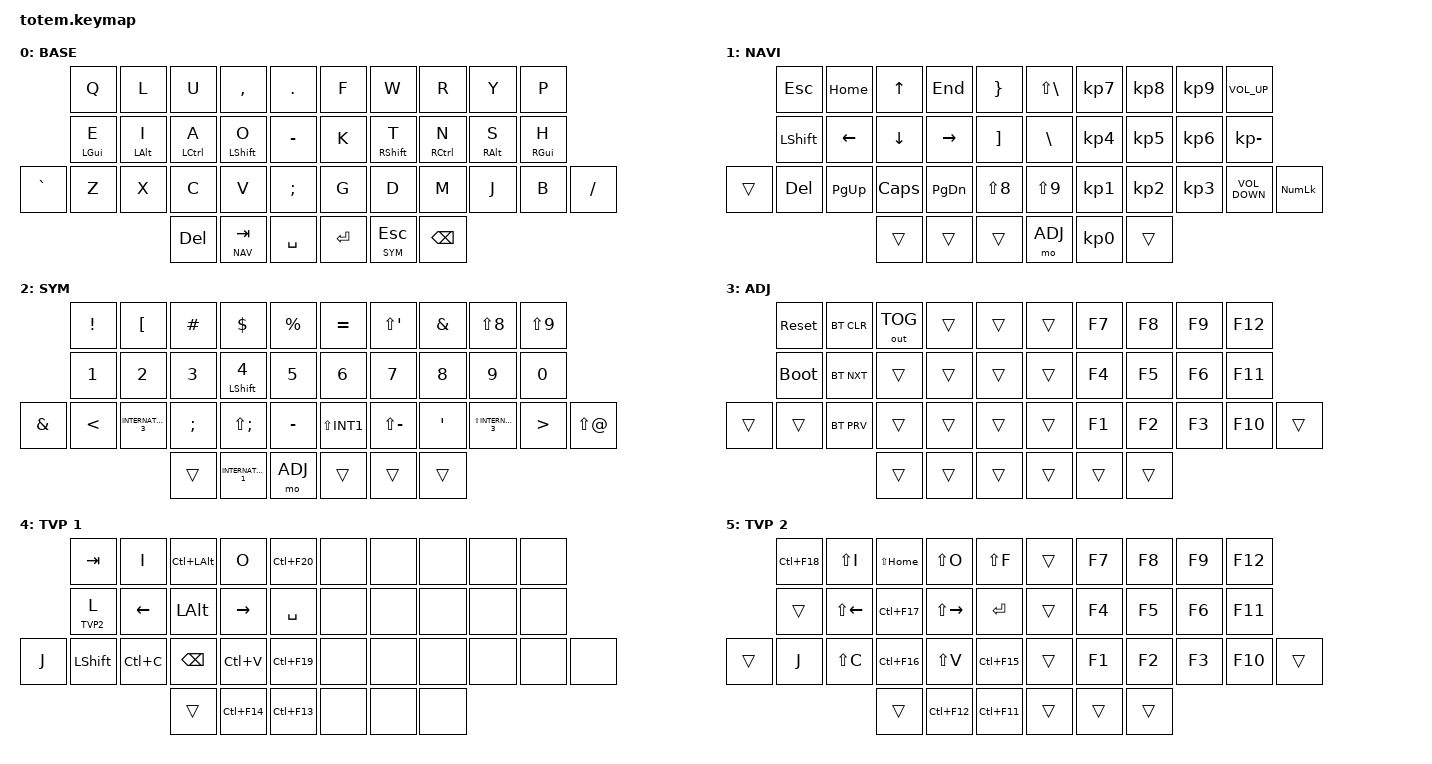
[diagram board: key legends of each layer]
//
//                                                        ▀▀▀▀▀     ▀▀▀▀▀          ▀▀█▀▀
//                                                        ▄▀▀▀▄  ▄  ▄▀▀▀▄  ▄  ▄▀▀▀▄  █  ▄▀▀▀▄
//                                                        █   █  █  █   █  █  █   █  █  █   █
//                                                         ▀▀▀   █   ▀▀▀   █   ▀▀▀   ▀   ▀▀▀
//                                                               █      ▄▄▄█▄▄▄    █   █  
//                                                               ▀      █  █  █     █▄█
//                                                             ▀▀▀▀▀    █  █  █      ▀
//                                                                      ▀  ▀  ▀
//
// ▄▄▄▄▄▄▄▄▄▄▄▄▄▄▄▄▄▄▄▄▄▄▄▄▄▄▄▄▄▄▄▄▄▄▄▄▄▄▄▄▄▄▄▄▄▄▄▄▄▄▄▄▄▄▄▄▄▄▄▄▄▄▄▄▄▄▄▄▄▄▄▄▄▄▄▄▄▄▄▄▄▄▄▄▄▄▄▄▄▄▄▄▄▄▄▄▄▄▄▄▄▄▄▄▄▄▄▄▄▄▄▄▄▄▄▄▄▄▄▄▄▄▄▄▄▄▄▄▄▄▄▄▄▄▄▄▄▄▄▄▄▄▄▄▄▄▄▄▄

#include <behaviors.dtsi>
#include <dt-bindings/zmk/bt.h>
#include <dt-bindings/zmk/keys.h>
#include <dt-bindings/zmk/outputs.h>

#define BASE 0
#define NAV  1
#define SYM  2
#define ADJ  3
#define TVP1 4
#define TVP2 5

&mt {
    quick-tap-ms = <140>;
    global-quick-tap;
    flavor = "tap-preferred";
    tapping-term-ms = <1000>;
};

/ {
    combos {
        compatible = "zmk,combos";

        combo_esc {
            timeout-ms = <50>;
            key-positions = <0 1>;
            bindings = <&kp ESC>;
        };

        combo_tvp {
            timeout-ms = <100>;
            key-positions = <11 12 13>;
            bindings = <&tog TVP1>;
        };
    };

    macros {
        gif: gif {
            label = "giphy";
            compatible = "zmk,behavior-macro";
            #binding-cells = <0>;
            bindings =
                <&macro_press>,
                <&kp LSHFT>,
                <&macro_tap>,
                <&kp N2>,
                <&macro_release>,
                <&kp LSHFT>,
                <&macro_tap>,
                <&kp G &kp I &kp F>;
        };
    };

    keymap {
        compatible = "zmk,keymap";

        // ▄▄▄▄▄▄▄▄▄▄▄▄▄▄▄▄▄▄▄▄▄▄▄▄▄▄▄▄▄▄▄▄▄▄▄▄▄▄▄▄▄▄▄▄▄▄▄▄▄▄▄▄▄▄▄▄▄▄▄▄▄▄▄▄▄▄▄▄▄▄▄▄▄▄▄▄▄▄▄▄▄▄▄▄▄▄▄▄▄▄▄▄▄▄▄▄▄▄▄▄▄▄▄▄▄▄▄▄▄▄▄▄▄▄▄▄▄▄▄▄▄▄▄▄▄▄▄▄▄▄▄▄▄▄▄▄▄▄▄▄▄▄▄▄▄▄▄▄▄

        base_layer {
            // ┏━━━━━━━━━━━━━━━━━━━━━━━━━━━━━━━━━━━━━━━┓

            label = "BASE";

            // ┗━━━━━━━━━━━━━━━━━━━━━━━━━━━━━━━━━━━━━━━┛
            //             ┏━━━━━━━━━━━┳━━━━━━━━━━━┳━━━━━━━━━━━┳━━━━━━━━━━━┳━━━━━━━━━━━┓   ┏━━━━━━━━━━━┳━━━━━━━━━━━┳━━━━━━━━━━━┳━━━━━━━━━━━┳━━━━━━━━━━━┓
            //             ┃     Q     ┃     W     ┃     F     ┃     P     ┃     G     ┃   ┃     J     ┃     L     ┃     U     ┃     Y     ┃     ;     ┃
            //             ┣━━━━━━━━━━━╋━━━━━━━━━━━╋━━━━━━━━━━━╋━━━━━━━━━━━╋━━━━━━━━━━━┫   ┣━━━━━━━━━━━╋━━━━━━━━━━━╋━━━━━━━━━━━╋━━━━━━━━━━━╋━━━━━━━━━━━┫
            //             ┃     A     ┃     R     ┃     S     ┃     T     ┃     D     ┃   ┃     H     ┃     N     ┃     E     ┃     I     ┃     O     ┃
            // ┏━━━━━━━━━━━╋━━━━━━━━━━━╋━━━━━━━━━━━╋━━━━━━━━━━━╋━━━━━━━━━━━╋━━━━━━━━━━━┫   ┣━━━━━━━━━━━╋━━━━━━━━━━━╋━━━━━━━━━━━╋━━━━━━━━━━━╋━━━━━━━━━━━╋━━━━━━━━━━━┓
            // ┃     Q     ┃     Z     ┃     X     ┃     C     ┃     V     ┃     B     ┃   ┃     K     ┃     M     ┃     ,     ┃     .     ┃     /     ┃     \     ┃
            // ┗━━━━━━━━━━━┻━━━━━━━━━━━┻━━━━━━━━━━━╋━━━━━━━━━━━╋━━━━━━━━━━━╋━━━━━━━━━━━┫   ┣━━━━━━━━━━━╋━━━━━━━━━━━╋━━━━━━━━━━━╋━━━━━━━━━━━┻━━━━━━━━━━━┻━━━━━━━━━━━┛
            //                                     ┃    DEL    ┃    TAB    ┃    SPC    ┃   ┃   ENTER   ┃           ┃   BSPC    ┃
            //                                     ┗━━━━━━━━━━━┻━━━━━━━━━━━┻━━━━━━━━━━━┛   ┗━━━━━━━━━━━┻━━━━━━━━━━━┻━━━━━━━━━━━┛

            bindings = <
           &kp Q       &kp L       &kp U        &kp COMMA    &kp PERIOD       &kp F    &kp W        &kp R        &kp Y       &kp P
           &mt LGUI E  &mt LALT I  &mt LCTRL A  &mt LSHFT O  &kp MINUS        &kp K    &mt RSHFT T  &mt RCTRL N  &mt RALT S  &mt RGUI H
&kp GRAVE  &kp Z       &kp X       &kp C        &kp V        &kp SEMICOLON    &kp G    &kp D        &kp M        &kp J       &kp B       &kp SLASH
                                   &kp DEL      &lt NAV TAB  &kp SPACE        &kp RET  &lt SYM ESC  &kp BSPC
            >;
        };

        // ▄▄▄▄▄▄▄▄▄▄▄▄▄▄▄▄▄▄▄▄▄▄▄▄▄▄▄▄▄▄▄▄▄▄▄▄▄▄▄▄▄▄▄▄▄▄▄▄▄▄▄▄▄▄▄▄▄▄▄▄▄▄▄▄▄▄▄▄▄▄▄▄▄▄▄▄▄▄▄▄▄▄▄▄▄▄▄▄▄▄▄▄▄▄▄▄▄▄▄▄▄▄▄▄▄▄▄▄▄▄▄▄▄▄▄▄▄▄▄▄▄▄▄▄▄▄▄▄▄▄▄▄▄▄▄▄▄▄▄▄▄▄▄▄▄▄▄▄▄

        nav_layer {
            // ┏━━━━━━━━━━━━━━━━━━━━━━━━━━━━━━━━━━━━━━━┓

            label = "NAVI";

            // ┗━━━━━━━━━━━━━━━━━━━━━━━━━━━━━━━━━━━━━━━┛
            //             ┏━━━━━━━━━━━┳━━━━━━━━━━━┳━━━━━━━━━━━┳━━━━━━━━━━━┳━━━━━━━━━━━┓   ┏━━━━━━━━━━━┳━━━━━━━━━━━┳━━━━━━━━━━━┳━━━━━━━━━━━┳━━━━━━━━━━━┓
            //             ┃           ┃           ┃     UP    ┃           ┃     {     ┃   ┃     }     ┃     7     ┃     8     ┃     9     ┃     +     ┃
            //             ┣━━━━━━━━━━━╋━━━━━━━━━━━╋━━━━━━━━━━━╋━━━━━━━━━━━╋━━━━━━━━━━━┫   ┣━━━━━━━━━━━╋━━━━━━━━━━━╋━━━━━━━━━━━╋━━━━━━━━━━━╋━━━━━━━━━━━┫
            //             ┃   SHIFT   ┃   LEFT    ┃    DOWN   ┃   RIGHT   ┃     [     ┃   ┃     ]     ┃     4     ┃     5     ┃     6     ┃     -     ┃
            // ┏━━━━━━━━━━━╋━━━━━━━━━━━╋━━━━━━━━━━━╋━━━━━━━━━━━╋━━━━━━━━━━━╋━━━━━━━━━━━┫   ┣━━━━━━━━━━━╋━━━━━━━━━━━╋━━━━━━━━━━━╋━━━━━━━━━━━╋━━━━━━━━━━━╋━━━━━━━━━━━┓
            // ┃           ┃           ┃   P UP    ┃  C LOCK   ┃  P DOWN   ┃     (     ┃   ┃     )     ┃     1     ┃     2     ┃     3     ┃     *     ┃           ┃
            // ┗━━━━━━━━━━━┻━━━━━━━━━━━┻━━━━━━━━━━━╋━━━━━━━━━━━╋━━━━━━━━━━━╋━━━━━━━━━━━┫   ┣━━━━━━━━━━━╋━━━━━━━━━━━╋━━━━━━━━━━━╋━━━━━━━━━━━┻━━━━━━━━━━━┻━━━━━━━━━━━┛
            //                                     ┃           ┃    TAB    ┃    SPC    ┃   ┃    DEL    ┃     0     ┃           ┃
            //                                     ┗━━━━━━━━━━━┻━━━━━━━━━━━┻━━━━━━━━━━━┛   ┗━━━━━━━━━━━┻━━━━━━━━━━━┻━━━━━━━━━━━┛

            bindings = <
        &kp ESC    &kp HOME   &kp UP    &kp END    &kp RBRC      &kp LS(BACKSLASH)  &kp KP_N7  &kp KP_N8  &kp KP_N9  &kp C_VOL_UP
        &kp LSHFT  &kp LEFT   &kp DOWN  &kp RIGHT  &kp RBKT      &kp BACKSLASH      &kp KP_N4  &kp KP_N5  &kp KP_N6  &kp KP_MINUS
&trans  &kp DEL    &kp PG_UP  &kp CAPS  &kp PG_DN  &kp LS(N8)    &kp LS(N9)         &kp KP_N1  &kp KP_N2  &kp KP_N3  &kp C_VOLUME_DOWN  &kp KP_NUM
                              &trans    &trans     &trans        &mo ADJ            &kp KP_N0  &trans
            >;
        };

        // ▄▄▄▄▄▄▄▄▄▄▄▄▄▄▄▄▄▄▄▄▄▄▄▄▄▄▄▄▄▄▄▄▄▄▄▄▄▄▄▄▄▄▄▄▄▄▄▄▄▄▄▄▄▄▄▄▄▄▄▄▄▄▄▄▄▄▄▄▄▄▄▄▄▄▄▄▄▄▄▄▄▄▄▄▄▄▄▄▄▄▄▄▄▄▄▄▄▄▄▄▄▄▄▄▄▄▄▄▄▄▄▄▄▄▄▄▄▄▄▄▄▄▄▄▄▄▄▄▄▄▄▄▄▄▄▄▄▄▄▄▄▄▄▄▄▄▄▄▄

        sim_layer {
            // ┏━━━━━━━━━━━━━━━━━━━━━━━━━━━━━━━━━━━━━━━┓

            label = "SYM";

            // ┗━━━━━━━━━━━━━━━━━━━━━━━━━━━━━━━━━━━━━━━┛
            //             ┏━━━━━━━━━━━┳━━━━━━━━━━━┳━━━━━━━━━━━┳━━━━━━━━━━━┳━━━━━━━━━━━┓   ┏━━━━━━━━━━━┳━━━━━━━━━━━┳━━━━━━━━━━━┳━━━━━━━━━━━┳━━━━━━━━━━━┓
            //             ┃     !     ┃     @     ┃     #     ┃     $     ┃     %     ┃   ┃     ˆ     ┃     &     ┃     Ü     ┃     '     ┃     "     ┃
            //             ┣━━━━━━━━━━━╋━━━━━━━━━━━╋━━━━━━━━━━━╋━━━━━━━━━━━╋━━━━━━━━━━━┫   ┣━━━━━━━━━━━╋━━━━━━━━━━━╋━━━━━━━━━━━╋━━━━━━━━━━━╋━━━━━━━━━━━┫
            //             ┃     Ä     ┃           ┃    SZ     ┃           ┃           ┃   ┃   MUTE    ┃   YEN     ┃   EURO    ┃  POUND    ┃     Ö     ┃
            // ┏━━━━━━━━━━━╋━━━━━━━━━━━╋━━━━━━━━━━━╋━━━━━━━━━━━╋━━━━━━━━━━━╋━━━━━━━━━━━┫   ┣━━━━━━━━━━━╋━━━━━━━━━━━╋━━━━━━━━━━━╋━━━━━━━━━━━╋━━━━━━━━━━━╋━━━━━━━━━━━┓
            // ┃           ┃  EMAIL1   ┃  EMAIL2   ┃           ┃           ┃           ┃   ┃   VOL-    ┃   VOL+    ┃   LAST    ┃   NEXT    ┃     \     ┃           ┃
            // ┗━━━━━━━━━━━┻━━━━━━━━━━━┻━━━━━━━━━━━╋━━━━━━━━━━━╋━━━━━━━━━━━╋━━━━━━━━━━━┫   ┣━━━━━━━━━━━╋━━━━━━━━━━━╋━━━━━━━━━━━╋━━━━━━━━━━━┻━━━━━━━━━━━┻━━━━━━━━━━━┛
            //                                     ┃           ┃    GIF    ┃    ADJ    ┃   ┃           ┃           ┃           ┃
            //                                     ┗━━━━━━━━━━━┻━━━━━━━━━━━┻━━━━━━━━━━━┛   ┗━━━━━━━━━━━┻━━━━━━━━━━━┻━━━━━━━━━━━┛

            bindings = <
               &kp EXCL       &kp LBKT             &kp HASH      &kp DLLR                 &kp PRCNT       &kp EQUAL     &kp LS(SINGLE_QUOTE)  &kp AMPERSAND     &kp LS(N8)               &kp LS(N9)
               &kp NUMBER_1   &kp NUMBER_2         &kp NUMBER_3  &mt LEFT_SHIFT NUMBER_4  &kp NUMBER_5    &kp NUMBER_6  &kp NUMBER_7          &kp NUMBER_8      &kp NUMBER_9             &kp NUMBER_0
&kp AMPERSAND  &kp LESS_THAN  &kp INTERNATIONAL_3  &kp SEMI      &kp LS(SEMICOLON)        &kp MINUS       &kp LS(INT1)  &kp LS(MINUS)         &kp SINGLE_QUOTE  &kp LS(INTERNATIONAL_3)  &kp GREATER_THAN  &kp LS(AT_SIGN)
                                                   &trans        &kp INTERNATIONAL_1      &mo ADJ         &trans        &trans                &trans
            >;
        };

        // ▄▄▄▄▄▄▄▄▄▄▄▄▄▄▄▄▄▄▄▄▄▄▄▄▄▄▄▄▄▄▄▄▄▄▄▄▄▄▄▄▄▄▄▄▄▄▄▄▄▄▄▄▄▄▄▄▄▄▄▄▄▄▄▄▄▄▄▄▄▄▄▄▄▄▄▄▄▄▄▄▄▄▄▄▄▄▄▄▄▄▄▄▄▄▄▄▄▄▄▄▄▄▄▄▄▄▄▄▄▄▄▄▄▄▄▄▄▄▄▄▄▄▄▄▄▄▄▄▄▄▄▄▄▄▄▄▄▄▄▄▄▄▄▄▄▄▄▄▄

        adjust_layer {
            // ┏━━━━━━━━━━━━━━━━━━━━━━━━━━━━━━━━━━━━━━━┓

            label = "ADJ";

            // ┗━━━━━━━━━━━━━━━━━━━━━━━━━━━━━━━━━━━━━━━┛
            //             ┏━━━━━━━━━━━┳━━━━━━━━━━━┳━━━━━━━━━━━┳━━━━━━━━━━━┳━━━━━━━━━━━┓   ┏━━━━━━━━━━━┳━━━━━━━━━━━┳━━━━━━━━━━━┳━━━━━━━━━━━┳━━━━━━━━━━━┓
            //             ┃   RESET   ┃ BT CLEAR  ┃  OUT TOG  ┃           ┃           ┃   ┃           ┃    F7     ┃    F8     ┃    F9     ┃    F12    ┃
            //             ┣━━━━━━━━━━━╋━━━━━━━━━━━╋━━━━━━━━━━━╋━━━━━━━━━━━╋━━━━━━━━━━━┫   ┣━━━━━━━━━━━╋━━━━━━━━━━━╋━━━━━━━━━━━╋━━━━━━━━━━━╋━━━━━━━━━━━┫
            //             ┃ BOOTLOAD  ┃ BT NEXT   ┃           ┃           ┃           ┃   ┃           ┃    F4     ┃    F5     ┃    F6     ┃    F11    ┃
            // ┏━━━━━━━━━━━╋━━━━━━━━━━━╋━━━━━━━━━━━╋━━━━━━━━━━━╋━━━━━━━━━━━╋━━━━━━━━━━━┫   ┣━━━━━━━━━━━╋━━━━━━━━━━━╋━━━━━━━━━━━╋━━━━━━━━━━━╋━━━━━━━━━━━╋━━━━━━━━━━━┓
            // ┃           ┃           ┃ BT PREV   ┃           ┃           ┃           ┃   ┃           ┃    F1     ┃    F2     ┃    F3     ┃    F10    ┃           ┃
            // ┗━━━━━━━━━━━┻━━━━━━━━━━━┻━━━━━━━━━━━╋━━━━━━━━━━━╋━━━━━━━━━━━╋━━━━━━━━━━━┫   ┣━━━━━━━━━━━╋━━━━━━━━━━━╋━━━━━━━━━━━╋━━━━━━━━━━━┻━━━━━━━━━━━┻━━━━━━━━━━━┛
            //                                     ┃           ┃           ┃           ┃   ┃           ┃           ┃           ┃
            //                                     ┗━━━━━━━━━━━┻━━━━━━━━━━━┻━━━━━━━━━━━┛   ┗━━━━━━━━━━━┻━━━━━━━━━━━┻━━━━━━━━━━━┛

            bindings = <
        &sys_reset   &bt BT_CLR  &out OUT_TOG  &trans  &trans    &trans  &kp F7  &kp F8  &kp F9  &kp F12
        &bootloader  &bt BT_NXT  &trans        &trans  &trans    &trans  &kp F4  &kp F5  &kp F6  &kp F11
&trans  &trans       &bt BT_PRV  &trans        &trans  &trans    &trans  &kp F1  &kp F2  &kp F3  &kp F10  &trans
                                 &trans        &trans  &trans    &trans  &trans  &trans
            >;
        };

        // ▄▄▄▄▄▄▄▄▄▄▄▄▄▄▄▄▄▄▄▄▄▄▄▄▄▄▄▄▄▄▄▄▄▄▄▄▄▄▄▄▄▄▄▄▄▄▄▄▄▄▄▄▄▄▄▄▄▄▄▄▄▄▄▄▄▄▄▄▄▄▄▄▄▄▄▄▄▄▄▄▄▄▄▄▄▄▄▄▄▄▄▄▄▄▄▄▄▄▄▄▄▄▄▄▄▄▄▄▄▄▄▄▄▄▄▄▄▄▄▄▄▄▄▄▄▄▄▄▄▄▄▄▄▄▄▄▄▄▄▄▄▄▄▄▄▄▄▄▄

        tvp1_layer {
            // ┏━━━━━━━━━━━━━━━━━━━━━━━━━━━━━━━━━━━━━━━┓

            label = "TVP 1";

            // ┗━━━━━━━━━━━━━━━━━━━━━━━━━━━━━━━━━━━━━━━┛
            //             ┏━━━━━━━━━━━┳━━━━━━━━━━━┳━━━━━━━━━━━┳━━━━━━━━━━━┳━━━━━━━━━━━┓   ┏━━━━━━━━━━━┳━━━━━━━━━━━┳━━━━━━━━━━━┳━━━━━━━━━━━┳━━━━━━━━━━━┓
            //             ┃ NEXT FILE ┃ MARK IN   ┃ ROTATE    ┃ MARK OUT  ┃ SHOW SNAP ┃   ┃           ┃           ┃           ┃           ┃           ┃
            //             ┣━━━━━━━━━━━╋━━━━━━━━━━━╋━━━━━━━━━━━╋━━━━━━━━━━━╋━━━━━━━━━━━┫   ┣━━━━━━━━━━━╋━━━━━━━━━━━╋━━━━━━━━━━━╋━━━━━━━━━━━╋━━━━━━━━━━━┫
            //             ┃ TVP II    ┃ LEFT      ┃ PAN       ┃ RIGHT     ┃ PLAY/FLIP ┃   ┃           ┃           ┃           ┃           ┃           ┃
            // ┏━━━━━━━━━━━╋━━━━━━━━━━━╋━━━━━━━━━━━╋━━━━━━━━━━━╋━━━━━━━━━━━╋━━━━━━━━━━━┫   ┣━━━━━━━━━━━╋━━━━━━━━━━━╋━━━━━━━━━━━╋━━━━━━━━━━━╋━━━━━━━━━━━╋━━━━━━━━━━━┓
            // ┃ FULLSCR   ┃ SHIFT     ┃ COPY      ┃ DELETE    ┃ PASTE     ┃ IMG MARK  ┃   ┃           ┃           ┃           ┃           ┃           ┃           ┃
            // ┗━━━━━━━━━━━┻━━━━━━━━━━━┻━━━━━━━━━━━╋━━━━━━━━━━━╋━━━━━━━━━━━╋━━━━━━━━━━━┫   ┣━━━━━━━━━━━╋━━━━━━━━━━━╋━━━━━━━━━━━╋━━━━━━━━━━━┻━━━━━━━━━━━┻━━━━━━━━━━━┛
            //                                     ┃           ┃ UNDO/SAVE ┃  SEL/MOV  ┃   ┃           ┃           ┃           ┃
            //                                     ┗━━━━━━━━━━━┻━━━━━━━━━━━┻━━━━━━━━━━━┛   ┗━━━━━━━━━━━┻━━━━━━━━━━━┻━━━━━━━━━━━┛

            bindings = <
       &kp TAB     &kp I      &kp LC(LALT)  &kp O        &kp LC(F20)    &none  &none  &none  &none  &none
       &lt TVP2 L  &kp LEFT   &kp LALT      &kp RIGHT    &kp SPACE      &none  &none  &none  &none  &none
&kp J  &kp LSHFT   &kp LC(C)  &kp BSPC      &kp LC(V)    &kp LC(F19)    &none  &none  &none  &none  &none  &none
                              &trans        &kp LC(F14)  &kp LC(F13)    &none  &none  &none
            >;
        };

        // ▄▄▄▄▄▄▄▄▄▄▄▄▄▄▄▄▄▄▄▄▄▄▄▄▄▄▄▄▄▄▄▄▄▄▄▄▄▄▄▄▄▄▄▄▄▄▄▄▄▄▄▄▄▄▄▄▄▄▄▄▄▄▄▄▄▄▄▄▄▄▄▄▄▄▄▄▄▄▄▄▄▄▄▄▄▄▄▄▄▄▄▄▄▄▄▄▄▄▄▄▄▄▄▄▄▄▄▄▄▄▄▄▄▄▄▄▄▄▄▄▄▄▄▄▄▄▄▄▄▄▄▄▄▄▄▄▄▄▄▄▄▄▄▄▄▄▄▄▄

        tvp2_layer {
            // ┏━━━━━━━━━━━━━━━━━━━━━━━━━━━━━━━━━━━━━━━┓

            label = "TVP 2";

            // ┗━━━━━━━━━━━━━━━━━━━━━━━━━━━━━━━━━━━━━━━┛
            //             ┏━━━━━━━━━━━┳━━━━━━━━━━━┳━━━━━━━━━━━┳━━━━━━━━━━━┳━━━━━━━━━━━┓   ┏━━━━━━━━━━━┳━━━━━━━━━━━┳━━━━━━━━━━━┳━━━━━━━━━━━┳━━━━━━━━━━━┓
            //             ┃ SOLO      ┃ TOGGLE IN ┃ RESET ROT ┃ TOGGLE OUT┃ TAKE SNAP ┃   ┃           ┃           ┃           ┃           ┃           ┃
            //             ┣━━━━━━━━━━━╋━━━━━━━━━━━╋━━━━━━━━━━━╋━━━━━━━━━━━╋━━━━━━━━━━━┫   ┣━━━━━━━━━━━╋━━━━━━━━━━━╋━━━━━━━━━━━╋━━━━━━━━━━━╋━━━━━━━━━━━┫
            //             ┃ ---       ┃ LAST KEY  ┃ NEW KEY   ┃ NEXT KEY  ┃ ENTER     ┃   ┃           ┃           ┃           ┃           ┃           ┃
            // ┏━━━━━━━━━━━╋━━━━━━━━━━━╋━━━━━━━━━━━╋━━━━━━━━━━━╋━━━━━━━━━━━╋━━━━━━━━━━━┫   ┣━━━━━━━━━━━╋━━━━━━━━━━━╋━━━━━━━━━━━╋━━━━━━━━━━━╋━━━━━━━━━━━╋━━━━━━━━━━━┓
            // ┃           ┃ FULLSCR   ┃ CPY2BRUSH ┃ DEL HEAD  ┃ PSTinPLACE┃ BOOK MARK ┃   ┃           ┃           ┃           ┃           ┃           ┃           ┃
            // ┗━━━━━━━━━━━┻━━━━━━━━━━━┻━━━━━━━━━━━╋━━━━━━━━━━━╋━━━━━━━━━━━╋━━━━━━━━━━━┫   ┣━━━━━━━━━━━╋━━━━━━━━━━━╋━━━━━━━━━━━╋━━━━━━━━━━━┻━━━━━━━━━━━┻━━━━━━━━━━━┛
            //                                     ┃           ┃ REDO/SAV1 ┃TRANS/WARP ┃   ┃           ┃           ┃           ┃
            //                                     ┗━━━━━━━━━━━┻━━━━━━━━━━━┻━━━━━━━━━━━┛   ┗━━━━━━━━━━━┻━━━━━━━━━━━┻━━━━━━━━━━━┛

            bindings = <
        &kp LC(F18)  &kp LS(I)     &kp LS(HOME)  &kp LS(O)      &kp LS(F)      &trans  &kp F7  &kp F8  &kp F9  &kp F12
        &trans       &kp LS(LEFT)  &kp LC(F17)   &kp LS(RIGHT)  &kp RET        &trans  &kp F4  &kp F5  &kp F6  &kp F11
&trans  &kp J        &kp LS(C)     &kp LC(F16)   &kp LS(V)      &kp LC(F15)    &trans  &kp F1  &kp F2  &kp F3  &kp F10  &trans
                                   &trans        &kp LC(F12)    &kp LC(F11)    &trans  &trans  &trans
            >;
        };
    };
};
